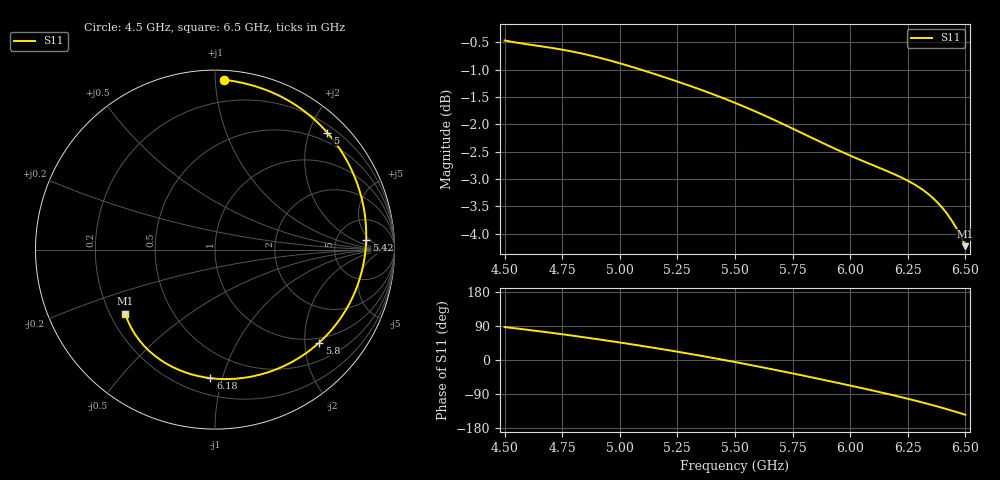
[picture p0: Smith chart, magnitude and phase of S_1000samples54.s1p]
! TOUCHSTONE file generated by CST MICROWAVE STUDIO
! Date and time: Wed Oct 26 20:16:22 2022
! Project name: L.cst
! Parameters = {Di=1.27; Epsilon_r=1.56; InnerDiameter=1.27; Length=2; Lf=10; Lg=60; OuterConductorThickness=0.2921; OuterDiameter=3.6; Wf=3; Wp=41.2; de=1.5; df=6.8; g=0.8; gx=1.93439; gy=3.134; h=2.34; hf=1.524; px=8.92956; py=12.5993; w=9.7; wx=6.99517; wy=9.46535}
! Header version: 2018
! Port assignment regex: !\s*Touchstone port\s*([0-9]+)\s*=\s*(CST MWS port|CST DS port)\s*([0-9]+|Zmin|Zmax)\s*\(\"(.*)\"\)(\s*mode\s*([0-9]+))?.*
! Touchstone port assignment:
! Touchstone port 1 = CST MWS port 1 ("")
# GHz S DB R 50
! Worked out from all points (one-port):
!   101 points, 4.5 GHz to 6.5 GHz, reference 50 ohm
!   lowest |S11| = -4.2 dB at 6.5 GHz (marker M1), VSWR 4.19, Z = 13.1 - j15 ohm
!   |S11| at or under -10 dB: nowhere
!   S11 on the Smith chart (normalised r, x): 4.5 GHz: 0.06, +1.05; 5 GHz: 0.33, +2.31; 5.42 GHz: 10, +4; 5.8 GHz: 0.89, -2.33; 6.18 GHz: 0.31, -0.91; 6.5 GHz: 0.26, -0.30
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4.5  -0.46 86.9
4.64  -0.56 76.6
4.76  -0.64 67.1
4.88  -0.75 56.9
5  -0.88 46.2
5.08  -0.98 38.7
5.14  -1.06 32.9
5.2  -1.15 26.9
5.26  -1.23 20.8
5.34  -1.35 12.4
5.42  -1.47 3.7
5.5  -1.61 -5.4
5.56  -1.71 -12.4
5.62  -1.82 -19.5
5.68  -1.94 -26.8
5.76  -2.10 -36.7
5.8  -2.18 -41.7
5.9  -2.38 -54.5
5.96  -2.50 -62.2
6  -2.57 -67.5
6.06  -2.68 -75.5
6.1  -2.75 -80.9
6.18  -2.89 -92.1
6.26  -3.06 -103.8
6.32  -3.21 -113.1
6.38  -3.44 -122.9
6.44  -3.76 -133.4
6.5  -4.23 -144.5
